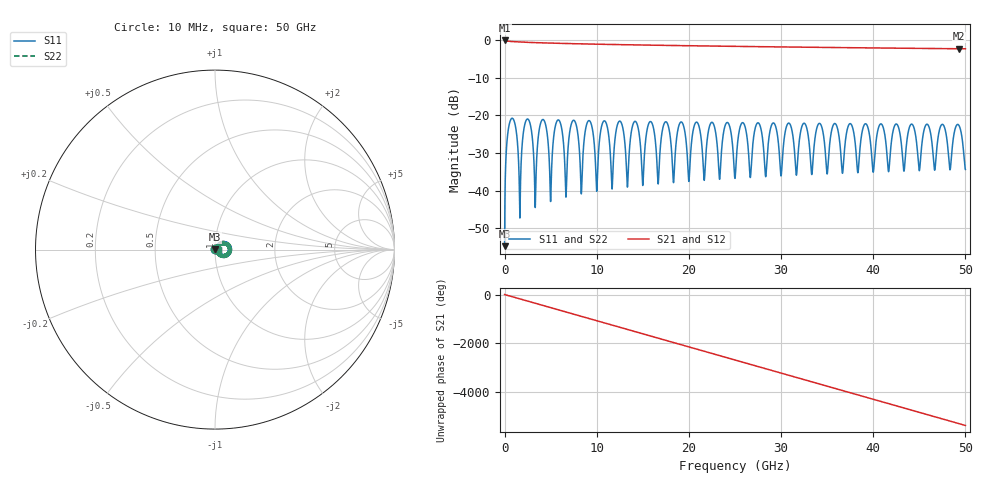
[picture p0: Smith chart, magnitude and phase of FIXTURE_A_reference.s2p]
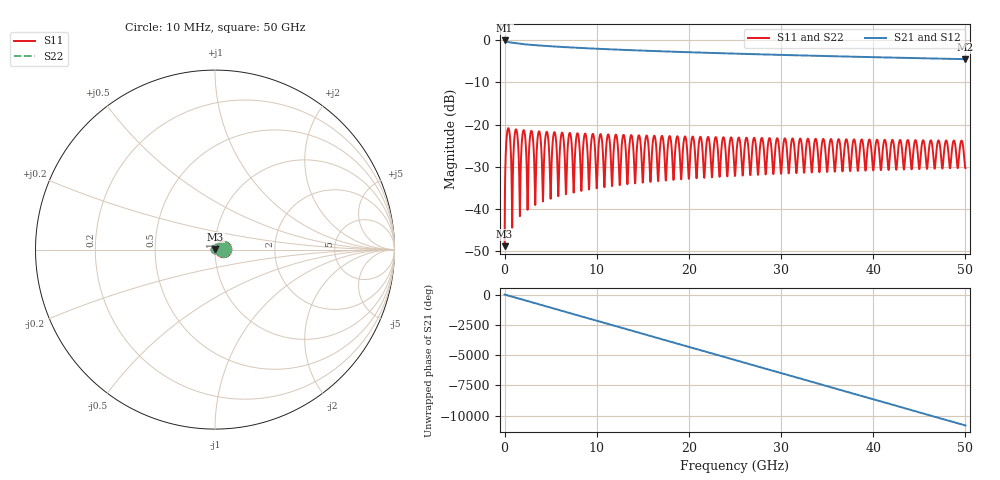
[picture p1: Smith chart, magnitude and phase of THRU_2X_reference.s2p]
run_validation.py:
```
"""
Validation de l'extraction S1P -> S2P sur les fichiers de ce dossier.

    python validation/run_validation.py            (depuis la racine du depot)

Deux parties :

1. Extraction  : OPEN_A.s1p / SHORT_A.s1p (et cote B) -> S2P du fixture,
                 compare a FIXTURE_A_reference.s2p et FIXTURE_B_reference.s2p.
2. De-embedding: RAW_MEASUREMENT.s2p (ligne A + DUT + ligne B) est corrige
                 avec les fixtures extraits, puis compare a DUT_reference.s2p.

Sorties  : FIXTURE_*_from_*.s2p, THRU_2X_half_in.s2p, DUT_deembedded.s2p,
           validation_plot.png, et un tableau d'ecarts dans la console.

Les S2P extraits se comparent directement a la reference dans un
simulateur (ADS, CST, HFSS, QUCS...) : meme grille 10 MHz - 50 GHz.
"""

import sys
from pathlib import Path

import numpy as np

HERE = Path(__file__).resolve().parent
sys.path.insert(0, str(HERE.parent))

from afr import io as afr_io          # noqa: E402
from afr import deembed, reflect, thru  # noqa: E402

REFERENCE = {"zc": 55.0, "delay_ps": 300.0, "eps_r_eff": 3.0}


def compare(label, est, ref, lo=1e9, hi=40e9):
    f = ref.f
    band = (f >= lo) & (f <= hi)
    e21, r21 = est.s[band, 1, 0], ref.s[band, 1, 0]
    mag = np.max(np.abs(20 * np.log10(np.abs(e21)) - 20 * np.log10(np.abs(r21))))
    phase = np.max(np.abs(np.degrees(np.angle(e21 * np.conj(r21)))))
    s11 = np.max(np.abs(np.abs(est.s[band, 0, 0]) - np.abs(ref.s[band, 0, 0])))
    print(f"{label:28s} S21 |dB| max {mag:6.3f} dB   phase max {phase:5.2f} deg   "
          f"|S11| ecart max {s11:.4f}   ({lo/1e9:.0f}-{hi/1e9:.0f} GHz)")
    return mag, phase


def main():
    ref = afr_io.load_network(HERE / "FIXTURE_A_reference.s2p", 2)
    n_open = afr_io.load_network(HERE / "OPEN_A.s1p", 1)
    n_short = afr_io.load_network(HERE / "SHORT_A.s1p", 1)
    f = n_open.f
    g_open, g_short = n_open.s[:, 0, 0], n_short.s[:, 0, 0]

    results = {
        "OPEN seul": reflect.fixture_from_reflect(f, g_open, "OPEN"),
        "SHORT seul": reflect.fixture_from_reflect(f, g_short, "SHORT"),
        "OPEN+SHORT": reflect.fixture_from_open_short(f, g_open, g_short),
    }

    print("=" * 96)
    for label, result in results.items():
        result.with_length(REFERENCE["eps_r_eff"])
        quality = result.quality
        print(f"{label:12s} : Z = {result.impedance_ohm:6.2f} ohm (ref {REFERENCE['zc']}), "
              f"TTD = {result.delay_ps:6.1f} ps (ref {REFERENCE['delay_ps']}), "
              f"longueur = {result.length_mm:6.2f} mm")
        print(f"{'':12s}   modele {quality.get('model')}, mode {quality.get('mode')}, "
              f"passif {quality.get('passive')}, points bornes {quality.get('clamped_points', 0)}")
        if "warning" in quality:
            print("   AVERTISSEMENT :", quality["warning"])
    print("=" * 96)

    ok = True
    for label, result in results.items():
        mag, phase = compare(label, result.network, ref)
        ok &= mag < 0.3 and phase < 3.0
        compare(label + " (bord 45-50 GHz)", result.network, ref, 45e9, 50e9)

    # 2x-thru : la demi-fixture doit redonner la reference
    two_x = afr_io.load_network(HERE / "THRU_2X_reference.s2p", 2)
    half_in, half_out, info = thru.split_2x_thru(two_x)
    print(f"{'2x-thru':12s} : Z1 = {info['z1']:6.2f} ohm, TTD = {info['delay1']:6.1f} ps, "
          f"total = {info['delay_total_ps']:.1f} ps")
    mag, phase = compare("2x-thru demi IN", half_in, ref)
    ok &= mag < 0.3 and phase < 3.0

    names = {"OPEN seul": "FIXTURE_A_from_OPEN", "SHORT seul": "FIXTURE_A_from_SHORT",
             "OPEN+SHORT": "FIXTURE_A_from_OPEN_SHORT"}
    for label, result in results.items():
        afr_io.write_network(result.network, HERE / names[label], "ri")
    afr_io.write_network(half_in, HERE / "THRU_2X_half_in", "ri")

    try:
        import matplotlib
        matplotlib.use("Agg")
        import matplotlib.pyplot as plt

        fig, axes = plt.subplots(2, 1, figsize=(10, 7), sharex=True)
        ghz = f / 1e9
        axes[0].plot(ghz, 20 * np.log10(np.abs(ref.s[:, 1, 0])), "k", lw=2, label="reference")
        axes[1].plot(ghz, 20 * np.log10(np.abs(ref.s[:, 0, 0])), "k", lw=2, label="reference")
        for label, result in results.items():
            axes[0].plot(ghz, 20 * np.log10(np.abs(result.network.s[:, 1, 0])), "--", label=label)
            axes[1].plot(ghz, 20 * np.log10(np.abs(result.network.s[:, 0, 0])), "--", label=label)
        axes[0].plot(ghz, 20 * np.log10(np.abs(half_in.s[:, 1, 0])), ":", label="2x-thru demi")
        axes[0].set_ylabel("|S21| (dB)")
        axes[1].set_ylabel("|S11| (dB)")
        axes[1].set_xlabel("Frequency (GHz)")
        for axis in axes:
            axis.grid(True, alpha=0.4)
            axis.legend(fontsize=8)
        fig.suptitle("Validation fixture A : reference vs extraction")
        fig.tight_layout()
        fig.savefig(HERE / "validation_plot.png", dpi=120)
        print("Figure :", HERE / "validation_plot.png")
    except Exception as error:  # matplotlib absent ou sans backend
        print("Pas de figure :", error)

    ok &= deembed_chain(f)

    print("RESULTAT :", "OK" if ok else "ECARTS AU-DELA DES TOLERANCES")
    return 0 if ok else 1


def deembed_chain(f):
    """
    Chaine complete : ligne A + DUT + ligne B -> DUT.

    Les fixtures sont ceux EXTRAITS des standards, pas les references : c'est
    la chaine que l'on suit sur une mesure reelle.
    """

    raw_path = HERE / "RAW_MEASUREMENT.s2p"
    if not raw_path.is_file():
        print("\nPas de RAW_MEASUREMENT.s2p : de-embedding de bout en bout ignore.")
        return True

    print("\n" + "=" * 96)
    print("DE-EMBEDDING DE BOUT EN BOUT : ligne A + DUT + ligne B")
    print("=" * 96)

    raw = afr_io.load_network(raw_path, 2)
    dut_reference = afr_io.load_network(HERE / "DUT_reference.s2p", 2)

    # Fixtures extraits de leurs propres standards, cote entree et cote sortie
    side_a = reflect.fixture_from_open_short(
        f,
        afr_io.load_network(HERE / "OPEN_A.s1p", 1).s[:, 0, 0],
        afr_io.load_network(HERE / "SHORT_A.s1p", 1).s[:, 0, 0],
    )
    side_b = reflect.fixture_from_open_short(
        f,
        afr_io.load_network(HERE / "OPEN_B.s1p", 1).s[:, 0, 0],
        afr_io.load_network(HERE / "SHORT_B.s1p", 1).s[:, 0, 0],
    )

    for label, result in (("Fixture A", side_a), ("Fixture B", side_b)):
        quality = result.quality
        print(f"{label} : Z = {result.impedance_ohm:6.2f} ohm, "
              f"TTD = {result.delay_ps:6.1f} ps, "
              f"ajustement du modele {quality.get('fit_rms', float('nan')):.4f}")

    fixture_in = side_a.network
    fixture_out = thru.as_output_fixture(side_b.network)

    dut = deembed.remove_fixtures(raw, fixture_in, fixture_out)
    afr_io.write_network(dut, HERE / "DUT_deembedded", "ri")

    band = (f >= 1e9) & (f <= 40e9)
    est, ref = dut.s[band, 1, 0], dut_reference.s[band, 1, 0]
    mag = float(np.max(np.abs(20 * np.log10(np.abs(est)) - 20 * np.log10(np.abs(ref)))))
    phase = float(np.max(np.abs(np.degrees(np.angle(est * np.conj(ref))))))
    s11 = float(np.max(np.abs(np.abs(dut.s[band, 0, 0]) - np.abs(dut_reference.s[band, 0, 0]))))

    recovered = (20 * np.log10(np.abs(dut.s[band, 1, 0]))
                 - 20 * np.log10(np.abs(raw.s[band, 1, 0])))

    print(f"DUT de-embedde contre reference : S21 {mag:.4f} dB / {phase:.3f} deg, "
          f"ecart sur S11 {s11:.4f}")
    print(f"Perte d'insertion retiree : {np.mean(recovered):+.2f} dB en moyenne, "
          f"{np.max(recovered):+.2f} dB au plus")

    quality = {"passive": True}
    try:
        from afr import metrics
        quality = metrics.quality_report(dut.s)
        print(f"DUT passif : {quality['passive']} "
              f"(valeur singuliere max {quality['max_singular_value']:.4f})")
    except Exception as error:
        print("Controle de passivite impossible :", error)

    good = mag < 0.3 and phase < 3.0 and quality["passive"]
    print("De-embedding :", "OK" if good else "ECART TROP GRAND")
    return good


if __name__ == "__main__":
    raise SystemExit(main())
```
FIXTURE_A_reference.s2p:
! Reference exacte : Fixture A synthetique : ligne Zc=55.0 ohm, delai=300 ps, pertes 1.0 dB @10 GHz (~sqrt(f)), eps_r_eff=3.0 -> 51.93 mm, Z0=50 ohm
! Frequency(Hz) S11 S21 S12 S22 (Re Im)
# Hz S RI R 50
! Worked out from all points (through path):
!   5000 points, 10 MHz to 50 GHz, reference 50 ohm
!   highest |S21| = -0.03 dB at 10 MHz (marker M1); lowest = -2.3 dB at 49.31 GHz (marker M2)
!   group delay of S21, straight-line fit = 300 ps
!   lowest |S11| = -54.8 dB at 10 MHz (marker M3), VSWR 1.00, Z = 50 + j0.179 ohm
!   |S11| at or under -10 dB: start of sweep to end of sweep
!   |S22| runs from -54.8 to -20.7 dB; largest |S21 - S12| = 0
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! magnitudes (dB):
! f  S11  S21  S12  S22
! 10 MHz  -54.8  0.0  0.0  -54.8
! 810 MHz  -20.7  -0.3  -0.3  -20.7
! 1.66 GHz  -47.1  -0.4  -0.4  -47.1
! 2.49 GHz  -20.9  -0.5  -0.5  -20.9
! 3.33 GHz  -44.5  -0.6  -0.6  -44.5
! 4.16 GHz  -21.1  -0.7  -0.7  -21.1
! 5 GHz  -42.9  -0.7  -0.7  -42.9
! 5.83 GHz  -21.2  -0.8  -0.8  -21.2
! 25.01 GHz  -36.7  -1.6  -1.6  -36.7
! 49.31 GHz  -22.7  -2.3  -2.3  -22.7
! 50 GHz  -34.3  -2.2  -2.2  -34.3
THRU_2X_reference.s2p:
! 2x-thru exact (fixture A + fixture A retourne) : Fixture A synthetique : ligne Zc=55.0 ohm, delai=300 ps, pertes 1.0 dB @10 GHz (~sqrt(f)), eps_r_eff=3.0 -> 51.93 mm, Z0=50 ohm
! Frequency(Hz) S11 S21 S12 S22 (Re Im)
# Hz S RI R 50
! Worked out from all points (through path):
!   5000 points, 10 MHz to 50 GHz, reference 50 ohm
!   highest |S21| = -0.06 dB at 10 MHz (marker M1); lowest = -4.5 dB at 50 GHz (marker M2)
!   group delay of S21, straight-line fit = 600 ps
!   lowest |S11| = -48.8 dB at 10 MHz (marker M3), VSWR 1.01, Z = 50.1 + j0.355 ohm
!   |S11| at or under -10 dB: start of sweep to end of sweep
!   |S22| runs from -48.8 to -20.8 dB; largest |S21 - S12| = 9e-17
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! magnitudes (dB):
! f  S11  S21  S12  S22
! 10 MHz  -48.8  -0.1  -0.1  -48.8
! 410 MHz  -20.8  -0.4  -0.4  -20.8
! 830 MHz  -44.4  -0.6  -0.6  -44.4
! 1.25 GHz  -21.1  -0.7  -0.7  -21.1
! 1.67 GHz  -41.7  -0.8  -0.8  -41.7
! 2.08 GHz  -21.3  -0.9  -0.9  -21.3
! 2.5 GHz  -40.2  -1.0  -1.0  -40.2
! 2.92 GHz  -21.5  -1.1  -1.1  -21.5
! 3.33 GHz  -39.0  -1.2  -1.2  -39.0
! 25.01 GHz  -32.1  -3.2  -3.2  -32.1
! 50 GHz  -30.3  -4.5  -4.5  -30.3
